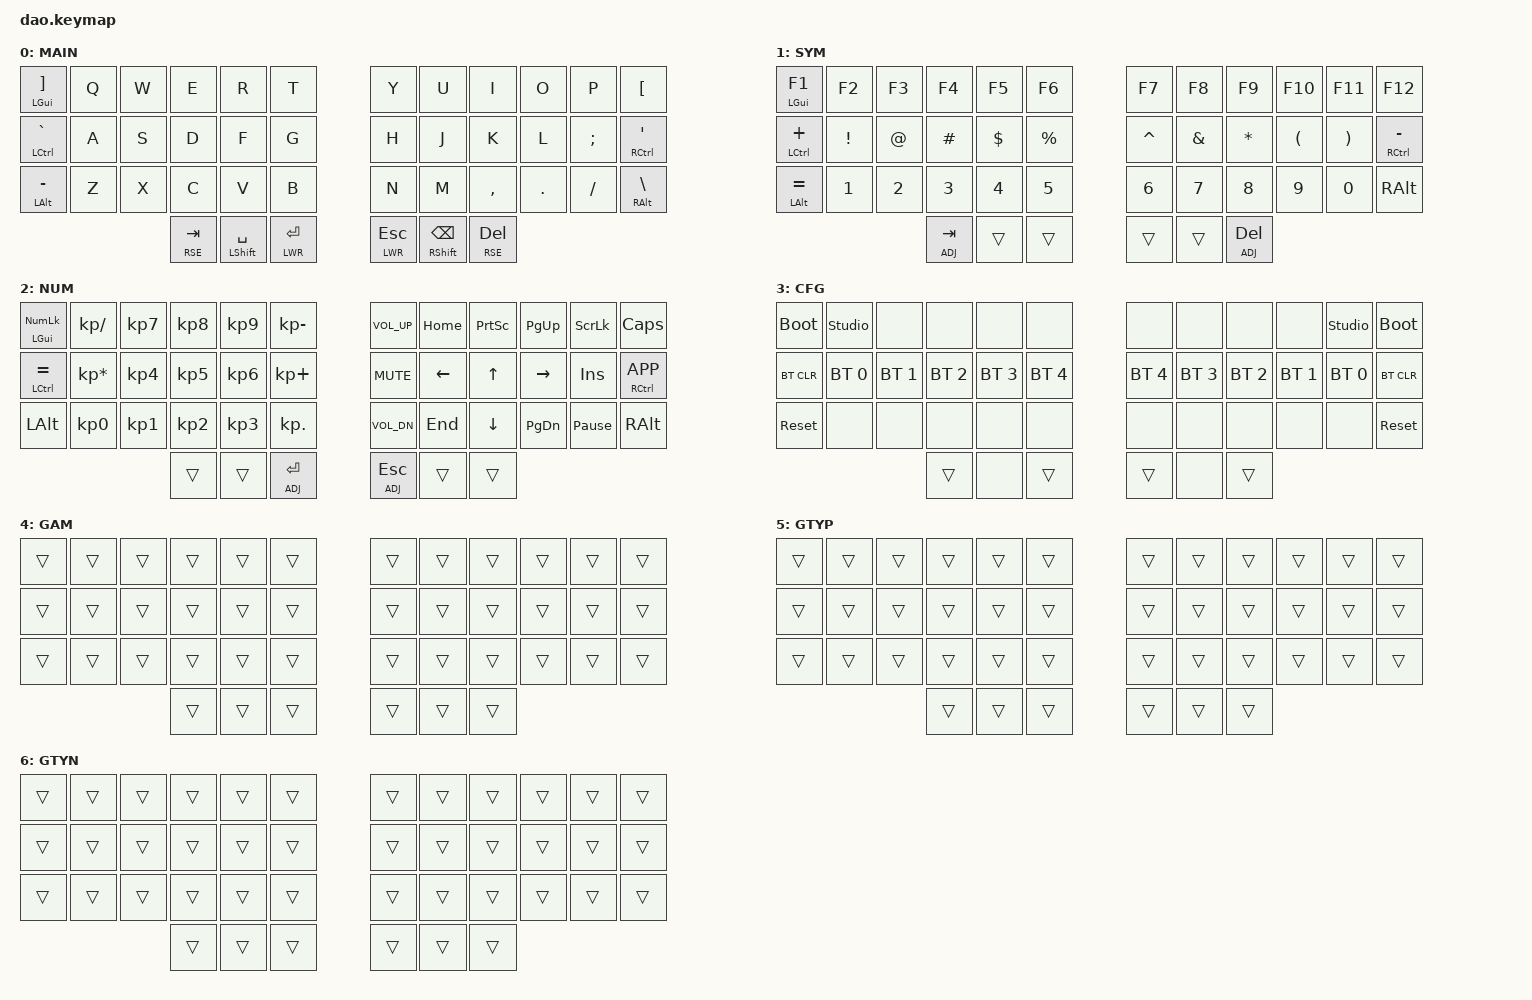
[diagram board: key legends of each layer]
/*
 * Copyright (c) 2021 Rafael Yumagulov
 *
 * SPDX-License-Identifier: MIT
 */

#include <behaviors.dtsi>
#include <dt-bindings/zmk/bt.h>
#include <dt-bindings/zmk/keys.h>
#include <locale/keys_de.h>

#define DEF 0
#define LWR 1
#define RSE 2
#define ADJ 3

&lt { quick_tap_ms = <200>; };

&mt { quick_tap_ms = <200>; };

/ {
    chosen {
        zmk,physical_layout = &dao_crkbd_layout;

        // zmk,physical_layout = &dao_full_layout;
    };
};

/ {
    keymap {
        compatible = "zmk,keymap";

        default_layer {
            display-name = "MAIN";
            bindings = <
&mt LGUI RBKT    &kp Q  &kp W  &kp E        &kp R            &kp T        &kp Y        &kp U           &kp I        &kp O    &kp P     &kp LBKT
&mt LCTRL GRAVE  &kp A  &kp S  &kp D        &kp F            &kp G        &kp H        &kp J           &kp K        &kp L    &kp SEMI  &mt RCTRL SQT
&mt LALT MINUS   &kp Z  &kp X  &kp C        &kp V            &kp B        &kp N        &kp M           &kp COMMA    &kp DOT  &kp FSLH  &mt RALT BSLH
                               &lt RSE TAB  &mt LSHFT SPACE  &lt LWR RET  &lt LWR ESC  &mt RSHFT BSPC  &lt RSE DEL
            >;
        };

        symbols {
            display-name = "SYM";
            bindings = <
&mt LGUI F1     &kp F2    &kp F3  &kp F4       &kp F5    &kp F6     &kp F7     &kp F8    &kp F9       &kp F10   &kp F11   &kp F12
&mt LCTRL PLUS  &kp EXCL  &kp AT  &kp HASH     &kp DLLR  &kp PRCNT  &kp CARET  &kp AMPS  &kp STAR     &kp LPAR  &kp RPAR  &mt RCTRL MINUS
&mt LALT EQUAL  &kp N1    &kp N2  &kp N3       &kp N4    &kp N5     &kp N6     &kp N7    &kp N8       &kp N9    &kp N0    &kp RALT
                                  &lt ADJ TAB  &trans    &trans     &trans     &trans    &lt ADJ DEL
            >;
        };

        Numblock {
            display-name = "NUM";
            bindings = <
&mt LGUI KP_NUM  &kp KP_SLASH     &kp KP_N7  &kp KP_N8  &kp KP_N9  &kp KP_MINUS  &kp C_VOL_UP  &kp HOME  &kp PSCRN  &kp PG_UP  &kp SLCK         &kp CLCK
&mt LCTRL EQUAL  &kp KP_MULTIPLY  &kp KP_N4  &kp KP_N5  &kp KP_N6  &kp KP_PLUS   &kp C_MUTE    &kp LEFT  &kp UP     &kp RIGHT  &kp INS          &mt RCTRL K_APP
&kp LALT         &kp KP_N0        &kp KP_N1  &kp KP_N2  &kp KP_N3  &kp KP_DOT    &kp C_VOL_DN  &kp END   &kp DOWN   &kp PG_DN  &kp PAUSE_BREAK  &kp RALT
                                             &trans     &trans     &lt ADJ RET   &lt ADJ ESC   &trans    &trans
            >;
        };

        Config {
            display-name = "CFG";
            bindings = <
&bootloader  &studio_unlock  &none         &none         &none         &none         &none         &none         &none         &none         &studio_unlock  &bootloader
&bt BT_CLR   &bt BT_SEL 0    &bt BT_SEL 1  &bt BT_SEL 2  &bt BT_SEL 3  &bt BT_SEL 4  &bt BT_SEL 4  &bt BT_SEL 3  &bt BT_SEL 2  &bt BT_SEL 1  &bt BT_SEL 0    &bt BT_CLR
&sys_reset   &none           &none         &none         &none         &none         &none         &none         &none         &none         &none           &sys_reset
                                           &trans        &none         &trans        &trans        &none         &trans
            >;
        };

        Gaming {
            bindings = <
&trans  &trans  &trans  &trans  &trans  &trans  &trans  &trans  &trans  &trans  &trans  &trans
&trans  &trans  &trans  &trans  &trans  &trans  &trans  &trans  &trans  &trans  &trans  &trans
&trans  &trans  &trans  &trans  &trans  &trans  &trans  &trans  &trans  &trans  &trans  &trans
                        &trans  &trans  &trans  &trans  &trans  &trans
            >;

            label = "GAM";
        };

        GameType {
            bindings = <
&trans  &trans  &trans  &trans  &trans  &trans  &trans  &trans  &trans  &trans  &trans  &trans
&trans  &trans  &trans  &trans  &trans  &trans  &trans  &trans  &trans  &trans  &trans  &trans
&trans  &trans  &trans  &trans  &trans  &trans  &trans  &trans  &trans  &trans  &trans  &trans
                        &trans  &trans  &trans  &trans  &trans  &trans
            >;

            label = "GTYP";
        };

        GameTypeNumbers {
            bindings = <
&trans  &trans  &trans  &trans  &trans  &trans  &trans  &trans  &trans  &trans  &trans  &trans
&trans  &trans  &trans  &trans  &trans  &trans  &trans  &trans  &trans  &trans  &trans  &trans
&trans  &trans  &trans  &trans  &trans  &trans  &trans  &trans  &trans  &trans  &trans  &trans
                        &trans  &trans  &trans  &trans  &trans  &trans
            >;

            label = "GTYN";
        };
    };
};
